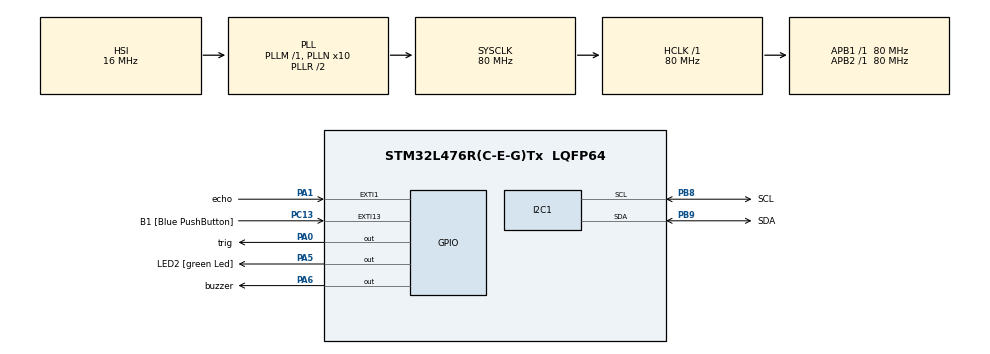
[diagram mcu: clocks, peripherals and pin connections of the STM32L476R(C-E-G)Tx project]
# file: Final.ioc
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I2C1.Timing=0x10D19CE4
Mcu.Family=STM32L4
Mcu.Name=STM32L476R(C-E-G)Tx
Mcu.Package=LQFP64
NVIC.EXTI15_10_IRQn=true\:0\:0\:false\:false\:true\:true\:true\:true
NVIC.EXTI1_IRQn=true\:0\:0\:false\:false\:true\:true\:true\:true
NVIC.PriorityGroup=NVIC_PRIORITYGROUP_4
NVIC.TIM3_IRQn=true\:0\:0\:false\:false\:true\:true\:true\:true
NVIC.TIM6_DAC_IRQn=true\:0\:0\:false\:false\:true\:true\:true\:true
PA0.GPIO_Label=trig
PA0.GPIO_PuPd=GPIO_NOPULL
PA0.Signal=GPIO_Output
PA1.GPIO_Label=echo
PA1.Signal=GPXTI1
PA13\ (JTMS-SWDIO).GPIO_Label=TMS
PA13\ (JTMS-SWDIO).Mode=Serial_Wire
PA13\ (JTMS-SWDIO).Signal=SYS_JTMS-SWDIO
PA14\ (JTCK-SWCLK).GPIO_Label=TCK
PA14\ (JTCK-SWCLK).Mode=Serial_Wire
PA14\ (JTCK-SWCLK).Signal=SYS_JTCK-SWCLK
PA5.GPIO_Label=LED2 [green Led]
PA5.GPIO_ModeDefaultOutputPP=GPIO_MODE_OUTPUT_PP
PA5.GPIO_PuPd=GPIO_NOPULL
PA5.GPIO_Speed=GPIO_SPEED_FREQ_LOW
PA5.Signal=GPIO_Output
PA6.GPIO_Label=buzzer
PA6.Signal=GPIO_Output
PB3\ (JTDO-TRACESWO).GPIO_Label=SWO
PB3\ (JTDO-TRACESWO).Signal=SYS_JTDO-SWO
PB8.GPIO_Label=SCL
PB8.GPIO_Pu=GPIO_PULLUP
PB8.Mode=I2C
PB8.Signal=I2C1_SCL
PB9.GPIO_Label=SDA
PB9.GPIO_Pu=GPIO_PULLUP
PB9.Mode=I2C
PB9.Signal=I2C1_SDA
PC13.GPIO_Label=B1 [Blue PushButton]
PC13.GPIO_ModeDefaultEXTI=GPIO_MODE_IT_FALLING
PC13.GPIO_PuPd=GPIO_NOPULL
PC13.Signal=GPXTI13
PC14-OSC32_IN\ (PC14).Mode=LSE-External-Oscillator
PC14-OSC32_IN\ (PC14).Signal=RCC_OSC32_IN
PC15-OSC32_OUT\ (PC15).Mode=LSE-External-Oscillator
PC15-OSC32_OUT\ (PC15).Signal=RCC_OSC32_OUT
PH0-OSC_IN\ (PH0).Signal=RCC_OSC_IN
PH1-OSC_OUT\ (PH1).Signal=RCC_OSC_OUT
ProjectManager.HeapSize=0x200
ProjectManager.StackSize=0x400
ProjectManager.TargetToolchain=STM32CubeIDE
RCC.ADCFreq_Value=64000000
RCC.AHBFreq_Value=80000000
RCC.APB1Freq_Value=80000000
RCC.APB1TimFreq_Value=80000000
RCC.APB2Freq_Value=80000000
RCC.APB2TimFreq_Value=80000000
RCC.CortexFreq_Value=80000000
RCC.HCLKFreq_Value=80000000
RCC.HSE_VALUE=8000000
RCC.HSI_VALUE=16000000
RCC.MSI_VALUE=4000000
RCC.PLLN=10
RCC.PLLSourceVirtual=RCC_PLLSOURCE_HSI
RCC.PREFETCH_ENABLE=1
RCC.SYSCLKFreq_VALUE=80000000
RCC.SYSCLKSource=RCC_SYSCLKSOURCE_PLLCLK
RCC.USBFreq_Value=64000000
RCC.VCOOutputFreq_Value=160000000
TIM1.Prescaler=79
TIM16.Prescaler=79
TIM3.AutoReloadPreload=TIM_AUTORELOAD_PRELOAD_ENABLE
TIM3.Period=4999
TIM3.Prescaler=7999
TIM6.AutoReloadPreload=TIM_AUTORELOAD_PRELOAD_ENABLE
TIM6.Period=4999
TIM6.Prescaler=7999
VP_TIM16_VS_ClockSourceINT.Mode=Enable_Timer
VP_TIM1_VS_ClockSourceINT.Mode=Internal
VP_TIM3_VS_ClockSourceINT.Mode=Internal
VP_TIM6_VS_ClockSourceINT.Mode=Enable_Timer
board=NUCLEO-L476RG

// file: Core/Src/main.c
/* USER CODE BEGIN Header */
/**
 ******************************************************************************
 * @file           : main.c
 * @brief          : Main program body
 ******************************************************************************
 * @attention
 *
 * Copyright (c) 2025 STMicroelectronics.
 * All rights reserved.
 *
 * This software is licensed under terms that can be found in the LICENSE file
 * in the root directory of this software component.
 * If no LICENSE file comes with this software, it is provided AS-IS.
 *
 ******************************************************************************
 */
/* USER CODE END Header */
#include "main.h"

/* USER CODE BEGIN Includes */
#include <stdio.h> // Required for snprintf function
/* USER CODE END Includes */

/* USER CODE BEGIN PM */
// 1602 I2C address
#define I2C_ADDR 0x27 // I2C address
// 1602 dimensions
#define LCD_ROWS 2 	// Number of rows on the LCD
#define LCD_COLS 16 // Number of columns on the LCD
// 1602 message bit numbers
#define DC_BIT 0 // Data/Command bit (RS - Register Select bit)
#define EN_BIT 2 // Enable bit
#define BL_BIT 3 // Backlight bit
#define D4_BIT 4 // Data 4 bit (for 4-bit mode communication)
#define D5_BIT 5 // Data 5 bit (for 4-bit mode communication)
#define D6_BIT 6 // Data 6 bit (for 4-bit mode communication)
#define D7_BIT 7 // Data 7 bit (for 4-bit mode communication)

#define SAFE_DISTANCE 50 		// Distance in cm below which the buzzer and LED activate dynamically
#define ARR_MIN 10 				// Minimum Auto-Reload Register (ARR) value for TIM3, resulting in fastest toggle
#define ARR_MAX 4999 			// Maximum Auto-Reload Register (ARR) value for TIM3, resulting in slowest toggle
/* USER CODE END PM */

I2C_HandleTypeDef hi2c1;

TIM_HandleTypeDef htim1;
TIM_HandleTypeDef htim3;
TIM_HandleTypeDef htim6;
TIM_HandleTypeDef htim16;

/* USER CODE BEGIN PV */
volatile char trigger_flag = 0; 	// Flag set by TIM6 interrupt to trigger sensor measurement
volatile char echo_flag = 0; 		// Flag set by external interrupt (echo pin) to indicate echo received
volatile char update_lcd_flag = 0;  // Flag set to indicate LCD display needs updating
volatile uint32_t duration; 		// Stores the raw timer count for the echo pulse duration
volatile uint32_t distance_cm; 		// Stores the calculated distance in centimeters
volatile char buzzer_flag = 0; 		// (Not used in current implementation, buzzer/LED handled in TIM3 ISR)
uint32_t calc_arr; 					// Stores the calculated ARR value for dynamic buzzer/LED rate
/* USER CODE END PV */

void SystemClock_Config(void);
static void MX_GPIO_Init(void);
static void MX_I2C1_Init(void);
static void MX_TIM16_Init(void);
static void MX_TIM1_Init(void);
static void MX_TIM3_Init(void);
static void MX_TIM6_Init(void);
/* USER CODE BEGIN PFP */
void CharLCD_Write_Nibble(uint8_t nibble, uint8_t dc); 	// Helper function to write a 4-bit nibble to LCD
void CharLCD_Send_Cmd(uint8_t cmd); 					// Sends a command byte to the LCD
void CharLCD_Send_Data(uint8_t data); 					// Sends a data (character) byte to the LCD
void CharLCD_Init(); 									// Initializes the LCD in 4-bit I2C mode
void CharLCD_Write_String(char *str); 					// Writes a null-terminated string to the LCD
void CharLCD_Set_Cursor(uint8_t row, uint8_t column);   // Sets the cursor position on the LCD
void CharLCD_Clear(void); 								// Clears the LCD display
void Trigger_Sensor(void); 								// Sends a trigger pulse to the ultrasonic sensor
void Delay_us(uint16_t us); 							// Provides a microsecond delay using TIM16
void Capture_Echo(void); 								// Measures the echo pulse duration and calculates distance
void Print_Distance(uint32_t distance); 				// Formats and prints distance to the LCD
/* USER CODE END PFP */

int main(void)
{

  /* MCU Configuration--------------------------------------------------------*/

  /* Reset of all peripherals, Initializes the Flash interface and the Systick. */
  HAL_Init();

  /* Configure the system clock */
  SystemClock_Config();

  /* Initialize all configured peripherals */
  MX_GPIO_Init();
  MX_I2C1_Init();
  MX_TIM16_Init();
  MX_TIM1_Init();
  MX_TIM3_Init();
  MX_TIM6_Init();
  /* USER CODE BEGIN 2 */
	CharLCD_Init(); 						// Initialize the LCD display
	CharLCD_Write_String("Initialized"); 	// Display "Initialized" on LCD upon startup

	HAL_TIM_Base_Start(&htim16); 	// Start Timer 16 (used for microsecond delays)
	HAL_TIM_Base_Start(&htim1);		// Start Timer 1 (used for measuring echo pulse length)
	HAL_TIM_Base_Start_IT(&htim3); 	// Start Timer 3 in interrupt mode (for periodic buzzer/LED toggling)
	HAL_TIM_Base_Start_IT(&htim6); 	// Start Timer 6 in interrupt mode (for periodic sensor triggering)

  /* USER CODE END 2 */

  /* Infinite loop */
  /* USER CODE BEGIN WHILE */
	while (1) {
		if (trigger_flag) { 															// Check if the sensor needs to be triggered (set by TIM6 ISR or button)
			Trigger_Sensor(); 															// Send the 10us trigger pulse
		}

		if (echo_flag) { 																// Check if an echo pulse has been received (set by echo pin EXTI ISR)
			Capture_Echo(); 															// Measure the echo pulse duration and calculate distance
		}

		if (update_lcd_flag) { 															// Check if the LCD display needs to be updated
			update_lcd_flag = 0; 														// Clear the flag
			if (distance_cm > 400) { 													// If distance is beyond sensor's typical max range (400cm)
				CharLCD_Set_Cursor(0, 0); 												// Set cursor to home position
				CharLCD_Write_String("Out of Range     "); 								// Display "Out of Range"
			} else {
				Print_Distance(distance_cm); 											// Display the measured distance on the LCD
			}
		}

		// Dynamic buzzer and LED rate control based on distance
		if (distance_cm < SAFE_DISTANCE) { // If distance is within the "unsafe" range
			// Calculate the new Auto-Reload Register (ARR) value for TIM3
			// As distance_cm decreases (gets closer to 0), calc_arr decreases, making the beep/blink faster.
			calc_arr = ARR_MIN + (ARR_MAX - ARR_MIN) * distance_cm / SAFE_DISTANCE;
			TIM3->ARR = calc_arr;														// Apply the new period to Timer 3
		} else { 																		// If distance is safe or out of range
			TIM3->ARR = 4999; 															// Set Timer 3 to its default slower period
		}
    /* USER CODE END WHILE */

	}
}

void SystemClock_Config(void)
{
  RCC_OscInitTypeDef RCC_OscInitStruct = {0};
  RCC_ClkInitTypeDef RCC_ClkInitStruct = {0};

  /** Configure the main internal regulator output voltage
  */
  if (HAL_PWREx_ControlVoltageScaling(PWR_REGULATOR_VOLTAGE_SCALE1) != HAL_OK)
  {
    Error_Handler();
  }

  /** Initializes the RCC Oscillators according to the specified parameters
  * in the RCC_OscInitTypeDef structure.
  */
  RCC_OscInitStruct.OscillatorType = RCC_OSCILLATORTYPE_HSI;
  RCC_OscInitStruct.HSIState = RCC_HSI_ON;
  RCC_OscInitStruct.HSICalibrationValue = RCC_HSICALIBRATION_DEFAULT;
  RCC_OscInitStruct.PLL.PLLState = RCC_PLL_ON;
  RCC_OscInitStruct.PLL.PLLSource = RCC_PLLSOURCE_HSI;
  RCC_OscInitStruct.PLL.PLLM = 1;
  RCC_OscInitStruct.PLL.PLLN = 10;
  RCC_OscInitStruct.PLL.PLLP = RCC_PLLP_DIV7;
  RCC_OscInitStruct.PLL.PLLQ = RCC_PLLQ_DIV2;
  RCC_OscInitStruct.PLL.PLLR = RCC_PLLR_DIV2;
  if (HAL_RCC_OscConfig(&RCC_OscInitStruct) != HAL_OK)
  {
    Error_Handler();
  }

  /** Initializes the CPU, AHB and APB buses clocks
  */
  RCC_ClkInitStruct.ClockType = RCC_CLOCKTYPE_HCLK|RCC_CLOCKTYPE_SYSCLK
                              |RCC_CLOCKTYPE_PCLK1|RCC_CLOCKTYPE_PCLK2;
  RCC_ClkInitStruct.SYSCLKSource = RCC_SYSCLKSOURCE_PLLCLK;
  RCC_ClkInitStruct.AHBCLKDivider = RCC_SYSCLK_DIV1;
  RCC_ClkInitStruct.APB1CLKDivider = RCC_HCLK_DIV1;
  RCC_ClkInitStruct.APB2CLKDivider = RCC_HCLK_DIV1;

  if (HAL_RCC_ClockConfig(&RCC_ClkInitStruct, FLASH_LATENCY_4) != HAL_OK)
  {
    Error_Handler();
  }
}

static void MX_I2C1_Init(void)
{

  hi2c1.Instance = I2C1;
  hi2c1.Init.Timing = 0x10D19CE4;
  hi2c1.Init.OwnAddress1 = 0;
  hi2c1.Init.AddressingMode = I2C_ADDRESSINGMODE_7BIT;
  hi2c1.Init.DualAddressMode = I2C_DUALADDRESS_DISABLE;
  hi2c1.Init.OwnAddress2 = 0;
  hi2c1.Init.OwnAddress2Masks = I2C_OA2_NOMASK;
  hi2c1.Init.GeneralCallMode = I2C_GENERALCALL_DISABLE;
  hi2c1.Init.NoStretchMode = I2C_NOSTRETCH_DISABLE;
  if (HAL_I2C_Init(&hi2c1) != HAL_OK)
  {
    Error_Handler();
  }

  /** Configure Analogue filter
  */
  if (HAL_I2CEx_ConfigAnalogFilter(&hi2c1, I2C_ANALOGFILTER_ENABLE) != HAL_OK)
  {
    Error_Handler();
  }

  /** Configure Digital filter
  */
  if (HAL_I2CEx_ConfigDigitalFilter(&hi2c1, 0) != HAL_OK)
  {
    Error_Handler();
  }

}

static void MX_TIM1_Init(void)
{

  TIM_ClockConfigTypeDef sClockSourceConfig = {0};
  TIM_MasterConfigTypeDef sMasterConfig = {0};

  htim1.Instance = TIM1;
  htim1.Init.Prescaler = 79;
  htim1.Init.CounterMode = TIM_COUNTERMODE_UP;
  htim1.Init.Period = 65535;
  htim1.Init.ClockDivision = TIM_CLOCKDIVISION_DIV1;
  htim1.Init.RepetitionCounter = 0;
  htim1.Init.AutoReloadPreload = TIM_AUTORELOAD_PRELOAD_DISABLE;
  if (HAL_TIM_Base_Init(&htim1) != HAL_OK)
  {
    Error_Handler();
  }
  sClockSourceConfig.ClockSource = TIM_CLOCKSOURCE_INTERNAL;
  if (HAL_TIM_ConfigClockSource(&htim1, &sClockSourceConfig) != HAL_OK)
  {
    Error_Handler();
  }
  sMasterConfig.MasterOutputTrigger = TIM_TRGO_RESET;
  sMasterConfig.MasterOutputTrigger2 = TIM_TRGO2_RESET;
  sMasterConfig.MasterSlaveMode = TIM_MASTERSLAVEMODE_DISABLE;
  if (HAL_TIMEx_MasterConfigSynchronization(&htim1, &sMasterConfig) != HAL_OK)
  {
    Error_Handler();
  }

}

static void MX_TIM3_Init(void)
{

  TIM_ClockConfigTypeDef sClockSourceConfig = {0};
  TIM_MasterConfigTypeDef sMasterConfig = {0};

  htim3.Instance = TIM3;
  htim3.Init.Prescaler = 7999;
  htim3.Init.CounterMode = TIM_COUNTERMODE_UP;
  htim3.Init.Period = 4999;
  htim3.Init.ClockDivision = TIM_CLOCKDIVISION_DIV1;
  htim3.Init.AutoReloadPreload = TIM_AUTORELOAD_PRELOAD_ENABLE;
  if (HAL_TIM_Base_Init(&htim3) != HAL_OK)
  {
    Error_Handler();
  }
  sClockSourceConfig.ClockSource = TIM_CLOCKSOURCE_INTERNAL;
  if (HAL_TIM_ConfigClockSource(&htim3, &sClockSourceConfig) != HAL_OK)
  {
    Error_Handler();
  }
  sMasterConfig.MasterOutputTrigger = TIM_TRGO_RESET;
  sMasterConfig.MasterSlaveMode = TIM_MASTERSLAVEMODE_DISABLE;
  if (HAL_TIMEx_MasterConfigSynchronization(&htim3, &sMasterConfig) != HAL_OK)
  {
    Error_Handler();
  }

}

static void MX_TIM6_Init(void)
{

  TIM_MasterConfigTypeDef sMasterConfig = {0};

  htim6.Instance = TIM6;
  htim6.Init.Prescaler = 7999;
  htim6.Init.CounterMode = TIM_COUNTERMODE_UP;
  htim6.Init.Period = 4999;
  htim6.Init.AutoReloadPreload = TIM_AUTORELOAD_PRELOAD_ENABLE;
  if (HAL_TIM_Base_Init(&htim6) != HAL_OK)
  {
    Error_Handler();
  }
  sMasterConfig.MasterOutputTrigger = TIM_TRGO_RESET;
  sMasterConfig.MasterSlaveMode = TIM_MASTERSLAVEMODE_DISABLE;
  if (HAL_TIMEx_MasterConfigSynchronization(&htim6, &sMasterConfig) != HAL_OK)
  {
    Error_Handler();
  }

}

static void MX_TIM16_Init(void)
{

  htim16.Instance = TIM16;
  htim16.Init.Prescaler = 79;
  htim16.Init.CounterMode = TIM_COUNTERMODE_UP;
  htim16.Init.Period = 65535;
  htim16.Init.ClockDivision = TIM_CLOCKDIVISION_DIV1;
  htim16.Init.RepetitionCounter = 0;
  htim16.Init.AutoReloadPreload = TIM_AUTORELOAD_PRELOAD_DISABLE;
  if (HAL_TIM_Base_Init(&htim16) != HAL_OK)
  {
    Error_Handler();
  }

}

static void MX_GPIO_Init(void)
{
  GPIO_InitTypeDef GPIO_InitStruct = {0};

  /* GPIO Ports Clock Enable */
  __HAL_RCC_GPIOC_CLK_ENABLE();
  __HAL_RCC_GPIOH_CLK_ENABLE();
  __HAL_RCC_GPIOA_CLK_ENABLE();
  __HAL_RCC_GPIOB_CLK_ENABLE();

  /*Configure GPIO pin Output Level */
  HAL_GPIO_WritePin(GPIOA, trig_Pin|LED2_Pin|buzzer_Pin, GPIO_PIN_RESET);

  /*Configure GPIO pin : B1_Pin */
  GPIO_InitStruct.Pin = B1_Pin;
  GPIO_InitStruct.Mode = GPIO_MODE_IT_FALLING;
  GPIO_InitStruct.Pull = GPIO_NOPULL;
  HAL_GPIO_Init(B1_GPIO_Port, &GPIO_InitStruct);

  /*Configure GPIO pins : trig_Pin LED2_Pin buzzer_Pin */
  GPIO_InitStruct.Pin = trig_Pin|LED2_Pin|buzzer_Pin;
  GPIO_InitStruct.Mode = GPIO_MODE_OUTPUT_PP;
  GPIO_InitStruct.Pull = GPIO_NOPULL;
  GPIO_InitStruct.Speed = GPIO_SPEED_FREQ_LOW;
  HAL_GPIO_Init(GPIOA, &GPIO_InitStruct);

  /*Configure GPIO pin : echo_Pin */
  GPIO_InitStruct.Pin = echo_Pin;
  GPIO_InitStruct.Mode = GPIO_MODE_IT_RISING;
  GPIO_InitStruct.Pull = GPIO_NOPULL;
  HAL_GPIO_Init(echo_GPIO_Port, &GPIO_InitStruct);

  /* EXTI interrupt init*/
  HAL_NVIC_SetPriority(EXTI1_IRQn, 0, 0);
  HAL_NVIC_EnableIRQ(EXTI1_IRQn);

  HAL_NVIC_SetPriority(EXTI15_10_IRQn, 0, 0);
  HAL_NVIC_EnableIRQ(EXTI15_10_IRQn);

}

/* USER CODE BEGIN 4 */

/**
 * @brief Sends measured distance in cm to be printed on CharLCD
 * @param distance_cm: integer distance in centimeters
 * @retval None
 */
void Print_Distance(uint32_t distance_cm) {

	char msg[17]; 												 // Buffer to hold the formatted string (16 chars + null terminator)
	snprintf(msg, sizeof(msg), "Distance: %lu cm", distance_cm); // Format distance into string
	CharLCD_Clear(); 											 // Clear the entire LCD display
	CharLCD_Set_Cursor(0, 0); 									 // Set cursor to the beginning of the first line
	CharLCD_Write_String(msg); 									 // Write the formatted distance string to LCD
}

/**
 * @brief Sends 10us pulse to sensor, telling to take a measurement
 * @param None
 * @retval None
 */
void Trigger_Sensor() {

	trigger_flag = 0; 											 // Clear the trigger flag
	HAL_GPIO_WritePin(trig_GPIO_Port, trig_Pin, GPIO_PIN_SET); 	 // Set trigger pin HIGH
	Delay_us(10); 												 // Wait for 10 microseconds
	HAL_GPIO_WritePin(trig_GPIO_Port, trig_Pin, GPIO_PIN_RESET); // Set trigger pin LOW
}

/**
 * @brief Captures length of echo pulse from sensor and calculates distance
 * @param None
 * @retval None
 */
void Capture_Echo(void) {
	echo_flag = 0; 														// Clear the echo flag
	HAL_TIM_Base_Stop(&htim1);											// Stop Timer 1 to prepare for new measurement
	__HAL_TIM_SET_COUNTER(&htim1, 0); 									// Reset Timer 1's counter to 0
	HAL_TIM_Base_Start(&htim1); 										// Start Timer 1 to begin measuring the echo pulse
	while (HAL_GPIO_ReadPin(echo_GPIO_Port, echo_Pin) == GPIO_PIN_SET);	// Wait for the echo pin to go LOW (falling edge)
	duration = __HAL_TIM_GET_COUNTER(&htim1); 							// Get the counter value (duration of HIGH pulse)
	distance_cm = duration / 58; 										// Convert pulse duration to distance in centimeters (speed of sound factor)
	update_lcd_flag = 1; 												// Set flag to update the LCD with new distance
}

/**
 * @brief Implements a delay in microseconds using TIM16
 * @param us: integer value for delay in microseconds
 * @retval None
 */
void Delay_us(uint16_t us) {
	HAL_TIM_Base_Stop(&htim16); 					// Stop Timer 16 to prepare for delay
	__HAL_TIM_SET_COUNTER(&htim16, 0); 				// Reset Timer 16's counter to 0
	HAL_TIM_Base_Start(&htim16); 					// Start Timer 16
	while (__HAL_TIM_GET_COUNTER(&htim16) < us) {
		// Wait
	}
	HAL_TIM_Base_Stop(&htim16); 					// Stop Timer 16 after the delay
}

/**
 * @brief External Interrupt (EXTI) Callback function
 * @param GPIO_Pin: Pin that triggered the interrupt
 * @retval None
 */
void HAL_GPIO_EXTI_Callback(uint16_t GPIO_Pin) {
	if (GPIO_Pin == B1_Pin) { 			// If the User Button (B1) was pushed
		trigger_flag = 1; 				// Set flag to trigger the ultrasonic sensor
	} else if (GPIO_Pin == echo_Pin) {  // If the Echo pin generated an interrupt
		echo_flag = 1; 					// Set flag to capture the echo pulse duration
	}
}

/**
 * @brief Timer Period Elapsed Callback function
 * @param htim: Pointer to the TIM handle that triggered the callback
 * @retval None
 */
void HAL_TIM_PeriodElapsedCallback(TIM_HandleTypeDef *htim) {
	if (htim->Instance == htim6.Instance) { 									// If the callback is from Timer 6
		trigger_flag = 1; 														// Set flag to trigger the ultrasonic sensor
	}

	if (htim->Instance == htim3.Instance) { 									// If the callback is from Timer 3 (for buzzer/LED)
		if (distance_cm < SAFE_DISTANCE) { 										// If the measured distance is within the unsafe range
			HAL_GPIO_TogglePin(buzzer_GPIO_Port, buzzer_Pin); 					// Toggle buzzer state (beep)
			HAL_GPIO_TogglePin(LED2_GPIO_Port, LED2_Pin);						// Toggle LED2 state (blink warning)
		} else { 																// If the measured distance is safe or out of range
			HAL_GPIO_WritePin(buzzer_GPIO_Port, buzzer_Pin, GPIO_PIN_RESET);	// Ensure buzzer is OFF
			HAL_GPIO_WritePin(LED2_GPIO_Port, LED2_Pin, GPIO_PIN_RESET); 		// Ensure LED2 is OFF
		}
	}
}

/**
 * @brief Helper function to write a 4-bit nibble to the LCD via I2C
 * @param nibble: 4-bit data to send
 * @param dc: Data/Command select bit (0 for command, 1 for data)
 * @retval None
 */
void CharLCD_Write_Nibble(uint8_t nibble, uint8_t dc) {
	uint8_t data = nibble << D4_BIT; 									// Shift nibble to D4-D7 position for PCF8574
	data |= dc << DC_BIT; 												// Set Data/Command bit (RS)
	data |= 1 << BL_BIT; 												// Ensure backlight is ON
	data |= 1 << EN_BIT; 												// Set Enable bit HIGH (for latching data)
	HAL_I2C_Master_Transmit(&hi2c1, I2C_ADDR << 1, &data, 1, 100); 		// Transmit data with EN high
	HAL_Delay(1);
	data &= ~(1 << EN_BIT); 											// Clear Enable bit (falling edge triggers LCD)
	HAL_I2C_Master_Transmit(&hi2c1, I2C_ADDR << 1, &data, 1, 100); 		// Transmit data with EN low
}

/**
 * @brief Send command to LCD
 * @param cmd: 8-bit command to send to LCD controller
 * @retval None
 */
void CharLCD_Send_Cmd(uint8_t cmd) {
	uint8_t upper_nibble = cmd >> 4; 			// Extract upper 4 bits of the command
	uint8_t lower_nibble = cmd & 0x0F; 			// Extract lower 4 bits of the command
	CharLCD_Write_Nibble(upper_nibble, 0); 		// Send upper nibble as command (DC=0)
	CharLCD_Write_Nibble(lower_nibble, 0); 		// Send lower nibble as command (DC=0)
	if (cmd == 0x01 || cmd == 0x02) { 			// Special handling for Clear Display and Return Home commands
		HAL_Delay(2);
	}
}

/**
 * @brief Send data (character) to LCD
 * @param data: 8-bit character data to display
 * @retval None
 */
void CharLCD_Send_Data(uint8_t data) {
	uint8_t upper_nibble = data >> 4; 		// Extract upper 4 bits of the character
	uint8_t lower_nibble = data & 0x0F; 	// Extract lower 4 bits of the character
	CharLCD_Write_Nibble(upper_nibble, 1); 	// Send upper nibble as data (DC=1)
	CharLCD_Write_Nibble(lower_nibble, 1);	// Send lower nibble as data (DC=1)
}

/**
 * @brief Initialize LCD in 4-bit mode via I2C
 * @param None
 * @retval None
 */
void CharLCD_Init() {
	HAL_Delay(50);					 // Wait for LCD power-on reset (min 40ms)
	CharLCD_Write_Nibble(0x03, 0); 	 // Step 1 of 4-bit initialization (8-bit mode trial)
	HAL_Delay(5);
	CharLCD_Write_Nibble(0x03, 0); 	 // Step 2 of 4-bit initialization
	HAL_Delay(1);
	CharLCD_Write_Nibble(0x03, 0); 	 // Step 3 of 4-bit initialization
	HAL_Delay(1);
	CharLCD_Write_Nibble(0x02, 0); 	 // Final step: switch to 4-bit interface mode
	CharLCD_Send_Cmd(0x28); 		 // Function set: 4-bit interface, 2 lines, 5x8 dots font
	CharLCD_Send_Cmd(0x0C);		 	 // Display control: Display ON, Cursor OFF, Blink OFF
	CharLCD_Send_Cmd(0x06); 		 // Entry mode set: Increment cursor, no display shift
	CharLCD_Send_Cmd(0x01); 		 // Clear display command
	HAL_Delay(2);
}

/**
 * @brief Write string to LCD at current cursor position
 * @param str: Pointer to null-terminated string
 * @retval None
 */
void CharLCD_Write_String(char *str) {
	while (*str) { 					// Loop until null terminator is found
		CharLCD_Send_Data(*str++); 	// Send current character and advance pointer
	}
}

/**
 * @brief Set cursor position on LCD
 * @param row: Row number (0 for first line, 1 for second line)
 * @param column: Column number (0 to LCD_COLS-1)
 * @retval None
 */
void CharLCD_Set_Cursor(uint8_t row, uint8_t column) {
	uint8_t address;
	switch (row) {
	case 0:
		address = 0x00;
		break;
	case 1:
		address = 0x40;
		break;
	default:
		address = 0x00;
	}
	address += column;
	CharLCD_Send_Cmd(0x80 | address);
}

/**
 * @brief Clear LCD display and return cursor to home position
 * @param None
 * @retval None
 */
void CharLCD_Clear(void) {
	CharLCD_Send_Cmd(0x01); 	// Send Clear Display command
	HAL_Delay(2);
}
/* USER CODE END 4 */

void Error_Handler(void)
{
  /* USER CODE BEGIN Error_Handler_Debug */
	/* User can add his own implementation to report the HAL error return state */
	__disable_irq(); // Disable global interrupts
	while (1) {
		// Infinite loop to halt execution in case of an error
	}
  /* USER CODE END Error_Handler_Debug */
}
